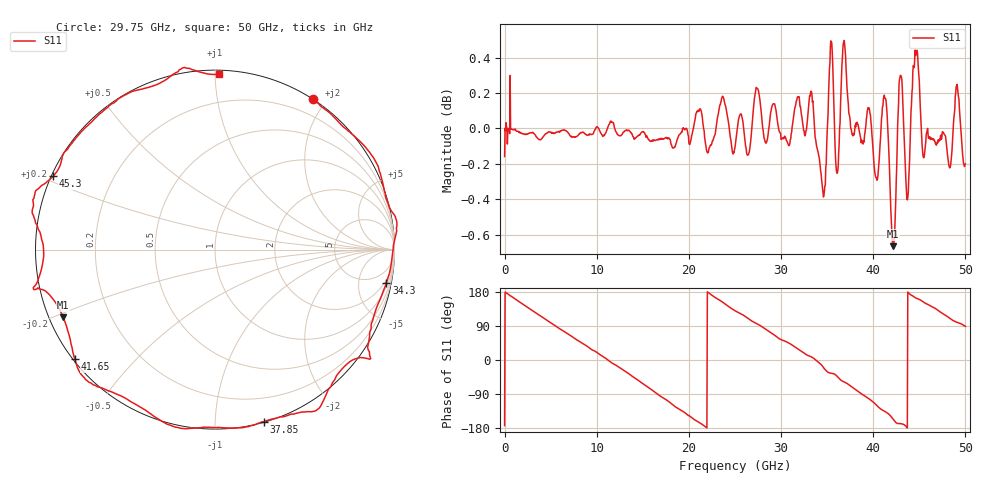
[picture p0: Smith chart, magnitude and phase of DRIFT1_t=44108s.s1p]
!Created with skrf (http://scikit-rf.org).
# Hz S RI R 50.0
!freq ReS11 ImS11
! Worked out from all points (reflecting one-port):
!   1001 points, 300 kHz to 50 GHz, reference 50 ohm
!   lowest |S11| = -0.7 dB at 42.15 GHz (marker M1), VSWR 26.11, Z = 2 - j10.6 ohm
!   phase of S11 starts at -173 deg and turns -818 deg over the sweep
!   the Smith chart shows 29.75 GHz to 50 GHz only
!   S11 on the Smith chart (normalised r, x): 29.75 GHz: 0.00, +1.84; 34.3 GHz: 2, -10; 37.85 GHz: 0.00, -1.32; 41.65 GHz: 0.01, -0.34; 45.3 GHz: 0.01, +0.22; 50 GHz: 0.02, +1.02
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300000  -0.9747 -0.118
1.450291e9  -0.9125 0.4044
3.25028e9  -0.5925 0.8009
6.250262e9  0.2006 0.9784
9.500243e9  0.8915 0.4444
1.250022e10  0.9322 -0.3484
1.580021e10  0.2407 -0.9619
1.73502e10  -0.2086 -0.9713
1.875019e10  -0.5966 -0.794
2.150017e10  -0.9918 -0.157
2.345016e10  -0.9292 0.4131
2.500015e10  -0.6351 0.7564
2.740014e10  -0.0987 1.022
2.975012e10  0.5454 0.8372
3.125011e10  0.785 0.624
3.31001e10  1.005 0.1826
3.430009e10  0.9548 -0.1835
3.520009e10  0.8597 -0.5679
3.750008e10  0.3762 -0.932
3.785007e10  0.2724 -0.9587
3.960006e10  -0.235 -0.9842
4.165005e10  -0.7812 -0.6098
4.215005e10  -0.8462 -0.3766
4.290004e10  -1.01 -0.2213
4.375004e10  -0.9559 0.0109
4.530003e10  -0.9007 0.409
4.770001e10  -0.4946 0.8648
5e10  0.021 0.977
